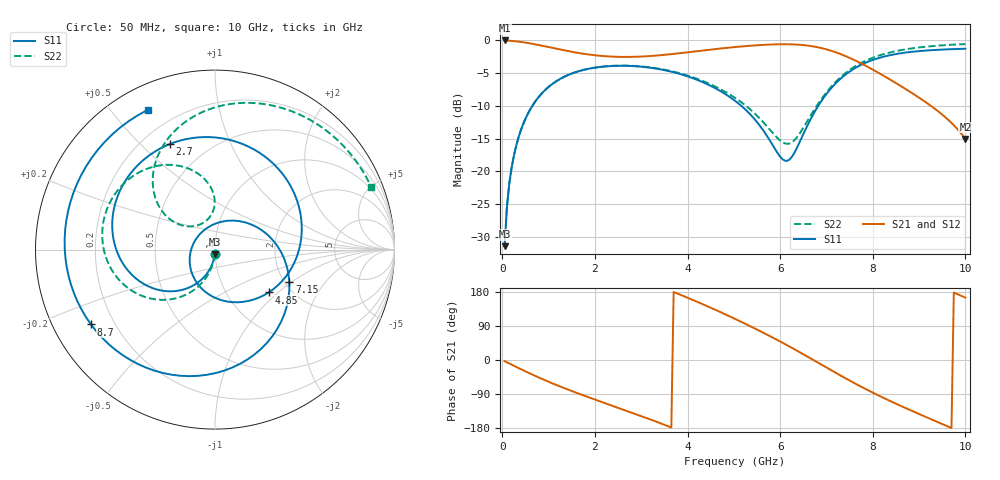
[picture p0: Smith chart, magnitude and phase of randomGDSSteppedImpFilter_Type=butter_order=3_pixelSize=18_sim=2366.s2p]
! freq	dB(S11)	phase(S11)	dB(S12)	phase(S12)
!  dB(S21)	phase(S21)	dB(S22)	phase(S22)
!S-par simulation data
#  GHz  S  DB  R 50
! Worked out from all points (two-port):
!   200 points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, 50 MHz to 10 GHz, reference 50 ohm
!   highest |S21| = -0.01 dB at 50 MHz (marker M1); lowest = -15.0 dB at 10 GHz (marker M2)
!   |S21| within 3 dB of the highest: start of sweep to 7.605 GHz
!   lowest |S11| = -31.4 dB at 50 MHz (marker M3), VSWR 1.06, Z = 49.8 - j2.67 ohm
!   |S11| at or under -10 dB: start of sweep to 648.1 MHz; 5.163 GHz to 6.821 GHz (1.658 GHz wide, 27.7 % of centre)
!   |S22| runs from -31.4 to -0.6 dB; largest |S21 - S12| = 0
!   S11 on the Smith chart (normalised r, x): 50 MHz: 1.00, -0.05; 2.7 GHz: 0.31, +0.62; 4.85 GHz: 1.56, -0.87; 7.15 GHz: 2.12, -0.96; 8.7 GHz: 0.11, -0.28; 10 GHz: 0.10, +0.63
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0.05  -31.40 -93.5  -0.01 -3.1  -0.01 -3.1  -31.40 -92.9
0.1  -25.41 -97.1  -0.02 -6.2  -0.02 -6.2  -25.41 -95.8
0.2  -19.48 -104.0  -0.07 -12.2  -0.07 -12.2  -19.48 -101.5
0.5  -11.96 -123.8  -0.33 -30.0  -0.33 -30.0  -11.95 -117.4
1.05  -6.81 -157.4  -1.10 -60.0  -1.10 -60.0  -6.80 -143.7
1.75  -4.51 164.0  -2.04 -93.3  -2.04 -93.3  -4.50 -171.7
2.7  -3.88 113.1  -2.52 -134.7  -2.52 -134.7  -3.85 156.8
3.4  -4.40 71.6  -2.27 -166.2  -2.27 -166.2  -4.33 135.7
4.15  -5.86 19.4  -1.69 156.7  -1.69 156.7  -5.72 114.9
4.85  -8.34 -38.6  -1.13 118.6  -1.13 118.6  -7.99 98.6
5.05  -9.35 -57.1  -0.99 107.1  -0.99 107.1  -8.88 94.9
5.6  -13.38 -116.8  -0.69 74.2  -0.69 74.2  -12.21 90.7
6.1  -18.35 149.5  -0.58 42.3  -0.58 42.3  -15.71 112.1
6.7  -11.46 27.4  -0.90 1.3  -0.90 1.3  -10.99 146.1
7.15  -6.91 -23.5  -1.69 -30.3  -1.69 -30.3  -6.69 137.2
7.45  -5.01 -51.9  -2.51 -50.9  -2.51 -50.9  -4.77 125.6
7.8  -3.55 -81.9  -3.70 -73.8  -3.70 -73.8  -3.25 110.5
8.35  -2.29 -124.0  -5.87 -106.8  -5.87 -106.8  -1.87 86.6
8.7  -1.86 -148.9  -7.37 -126.4  -7.37 -126.4  -1.37 72.0
9.35  -1.45 165.6  -10.48 -161.0  -10.48 -161.0  -0.83 46.2
9.7  -1.33 139.7  -12.59 -179.5  -12.59 -179.5  -0.66 32.9
10  -1.27 115.5  -15.04 164.7  -15.04 164.7  -0.56 21.7
